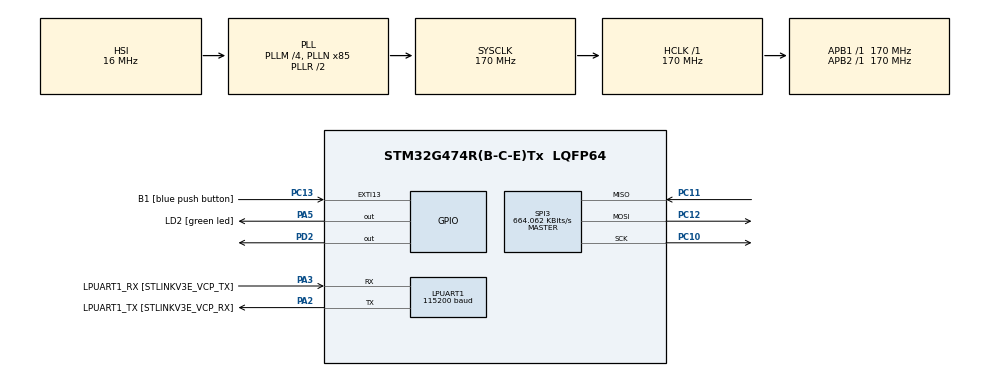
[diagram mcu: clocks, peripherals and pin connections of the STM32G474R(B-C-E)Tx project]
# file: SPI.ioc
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LPUART1.BaudRate=115200
LPUART1.WordLength=UART_WORDLENGTH_8B
Mcu.Family=STM32G4
Mcu.Name=STM32G474R(B-C-E)Tx
Mcu.Package=LQFP64
NVIC.EXTI15_10_IRQn=true\:0\:0\:false\:false\:true\:true\:true\:true
NVIC.PriorityGroup=NVIC_PRIORITYGROUP_4
NVIC.SPI3_IRQn=true\:0\:0\:false\:false\:true\:true\:true\:true
NVIC.TIM2_IRQn=true\:0\:0\:false\:false\:true\:true\:true\:true
PA13.GPIO_Label=T_SWDIO
PA13.Mode=Serial_Wire
PA13.Signal=SYS_JTMS-SWDIO
PA14.GPIO_Label=T_SWCLK
PA14.Mode=Serial_Wire
PA14.Signal=SYS_JTCK-SWCLK
PA2.GPIO_Label=LPUART1_TX [STLINKV3E_VCP_RX]
PA2.Mode=Asynchronous
PA2.Signal=LPUART1_TX
PA3.GPIO_Label=LPUART1_RX [STLINKV3E_VCP_TX]
PA3.Mode=Asynchronous
PA3.Signal=LPUART1_RX
PA5.GPIO_Label=LD2 [green led]
PA5.Signal=GPIO_Output
PB3.GPIO_Label=T_SWO
PB3.Signal=SYS_JTDO-SWO
PC10.Mode=Full_Duplex_Master
PC10.Signal=SPI3_SCK
PC11.Mode=Full_Duplex_Master
PC11.Signal=SPI3_MISO
PC12.Mode=Full_Duplex_Master
PC12.Signal=SPI3_MOSI
PC13.GPIO_Label=B1 [blue push button]
PC13.Signal=GPXTI13
PC14-OSC32_IN.Mode=LSE-External-Oscillator
PC14-OSC32_IN.Signal=RCC_OSC32_IN
PC15-OSC32_OUT.Mode=LSE-External-Oscillator
PC15-OSC32_OUT.Signal=RCC_OSC32_OUT
PD2.PinState=GPIO_PIN_SET
PD2.Signal=GPIO_Output
PF0-OSC_IN.Mode=HSE-External-Oscillator
PF0-OSC_IN.Signal=RCC_OSC_IN
PF1-OSC_OUT.Mode=HSE-External-Oscillator
PF1-OSC_OUT.Signal=RCC_OSC_OUT
ProjectManager.HeapSize=0x200
ProjectManager.StackSize=0x400
ProjectManager.TargetToolchain=STM32CubeIDE
RCC.ADC12Freq_Value=170000000
RCC.ADC345Freq_Value=170000000
RCC.AHBFreq_Value=170000000
RCC.APB1Freq_Value=170000000
RCC.APB1TimFreq_Value=170000000
RCC.APB2Freq_Value=170000000
RCC.APB2TimFreq_Value=170000000
RCC.CortexFreq_Value=170000000
RCC.EXTERNAL_CLOCK_VALUE=12288000
RCC.HCLKFreq_Value=170000000
RCC.HSE_VALUE=24000000
RCC.HSI48_VALUE=48000000
RCC.HSI_VALUE=16000000
RCC.PLLM=RCC_PLLM_DIV4
RCC.PLLN=85
RCC.RTCClockSelection=RCC_RTCCLKSOURCE_LSE
RCC.SYSCLKFreq_VALUE=170000000
RCC.SYSCLKSource=RCC_SYSCLKSOURCE_PLLCLK
RCC.USBFreq_Value=170000000
RCC.VCOOutputFreq_Value=340000000
SPI3.BaudRatePrescaler=SPI_BAUDRATEPRESCALER_256
SPI3.CLKPhase=SPI_PHASE_1EDGE
SPI3.CLKPolarity=SPI_POLARITY_LOW
SPI3.CalculateBaudRate=664.062 KBits/s
SPI3.DataSize=SPI_DATASIZE_8BIT
SPI3.Direction=SPI_DIRECTION_2LINES
SPI3.Mode=SPI_MODE_MASTER
SPI3.VirtualType=VM_MASTER
TIM2.PeriodNoDither=999
TIM2.Prescaler=16999
VP_SYS_VS_DBSignals.Mode=DisableDeadBatterySignals
VP_TIM2_VS_ClockSourceINT.Mode=Internal
board=NUCLEO-G474RE

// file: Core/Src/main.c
/* USER CODE BEGIN Header */
/**
  ******************************************************************************
  * @file           : main.c
  * @brief          : Main program body
  ******************************************************************************
  * @attention
  *
  * Copyright (c) 2024 STMicroelectronics.
  * All rights reserved.
  *
  * This software is licensed under terms that can be found in the LICENSE file
  * in the root directory of this software component.
  * If no LICENSE file comes with this software, it is provided AS-IS.
  *
  ******************************************************************************
  */
/* USER CODE END Header */
#include "main.h"

UART_HandleTypeDef hlpuart1;

SPI_HandleTypeDef hspi3;

TIM_HandleTypeDef htim2;

/* USER CODE BEGIN PV */
uint8_t SPIRx[10];
uint8_t SPITx[10];
uint8_t Mode;
uint8_t Switch = 1;
uint8_t LMode1 = 1;
/* USER CODE END PV */

void SystemClock_Config(void);
static void MX_GPIO_Init(void);
static void MX_LPUART1_UART_Init(void);
static void MX_SPI3_Init(void);
static void MX_TIM2_Init(void);
/* USER CODE BEGIN PFP */
void SPITxRx_Setup();
void SPITxRx_readIO();
void IODIRB_Setup();
void ReadSwitch();
void LED_From();
/* USER CODE END PFP */

int main(void)
{

  /* MCU Configuration--------------------------------------------------------*/

  /* Reset of all peripherals, Initializes the Flash interface and the Systick. */
  HAL_Init();

  /* Configure the system clock */
  SystemClock_Config();

  /* Initialize all configured peripherals */
  MX_GPIO_Init();
  MX_LPUART1_UART_Init();
  MX_SPI3_Init();
  MX_TIM2_Init();
  /* USER CODE BEGIN 2 */
//  SPITxRx_Setup();//for mode 1,1
  IODIRB_Setup();
  HAL_TIM_Base_Start_IT(&htim2);
  /* USER CODE END 2 */

  /* Infinite loop */
  while (1)
  {

    /* USER CODE BEGIN 3 */
	  SPITxRx_readIO();
	  ReadSwitch();
  }
  /* USER CODE END 3 */
}

void SystemClock_Config(void)
{
  RCC_OscInitTypeDef RCC_OscInitStruct = {0};
  RCC_ClkInitTypeDef RCC_ClkInitStruct = {0};

  /** Configure the main internal regulator output voltage
  */
  HAL_PWREx_ControlVoltageScaling(PWR_REGULATOR_VOLTAGE_SCALE1_BOOST);

  /** Initializes the RCC Oscillators according to the specified parameters
  * in the RCC_OscInitTypeDef structure.
  */
  RCC_OscInitStruct.OscillatorType = RCC_OSCILLATORTYPE_HSI;
  RCC_OscInitStruct.HSIState = RCC_HSI_ON;
  RCC_OscInitStruct.HSICalibrationValue = RCC_HSICALIBRATION_DEFAULT;
  RCC_OscInitStruct.PLL.PLLState = RCC_PLL_ON;
  RCC_OscInitStruct.PLL.PLLSource = RCC_PLLSOURCE_HSI;
  RCC_OscInitStruct.PLL.PLLM = RCC_PLLM_DIV4;
  RCC_OscInitStruct.PLL.PLLN = 85;
  RCC_OscInitStruct.PLL.PLLP = RCC_PLLP_DIV2;
  RCC_OscInitStruct.PLL.PLLQ = RCC_PLLQ_DIV2;
  RCC_OscInitStruct.PLL.PLLR = RCC_PLLR_DIV2;
  if (HAL_RCC_OscConfig(&RCC_OscInitStruct) != HAL_OK)
  {
    Error_Handler();
  }

  /** Initializes the CPU, AHB and APB buses clocks
  */
  RCC_ClkInitStruct.ClockType = RCC_CLOCKTYPE_HCLK|RCC_CLOCKTYPE_SYSCLK
                              |RCC_CLOCKTYPE_PCLK1|RCC_CLOCKTYPE_PCLK2;
  RCC_ClkInitStruct.SYSCLKSource = RCC_SYSCLKSOURCE_PLLCLK;
  RCC_ClkInitStruct.AHBCLKDivider = RCC_SYSCLK_DIV1;
  RCC_ClkInitStruct.APB1CLKDivider = RCC_HCLK_DIV1;
  RCC_ClkInitStruct.APB2CLKDivider = RCC_HCLK_DIV1;

  if (HAL_RCC_ClockConfig(&RCC_ClkInitStruct, FLASH_LATENCY_4) != HAL_OK)
  {
    Error_Handler();
  }
}

static void MX_LPUART1_UART_Init(void)
{

  hlpuart1.Instance = LPUART1;
  hlpuart1.Init.BaudRate = 115200;
  hlpuart1.Init.WordLength = UART_WORDLENGTH_8B;
  hlpuart1.Init.StopBits = UART_STOPBITS_1;
  hlpuart1.Init.Parity = UART_PARITY_NONE;
  hlpuart1.Init.Mode = UART_MODE_TX_RX;
  hlpuart1.Init.HwFlowCtl = UART_HWCONTROL_NONE;
  hlpuart1.Init.OneBitSampling = UART_ONE_BIT_SAMPLE_DISABLE;
  hlpuart1.Init.ClockPrescaler = UART_PRESCALER_DIV1;
  hlpuart1.AdvancedInit.AdvFeatureInit = UART_ADVFEATURE_NO_INIT;
  if (HAL_UART_Init(&hlpuart1) != HAL_OK)
  {
    Error_Handler();
  }
  if (HAL_UARTEx_SetTxFifoThreshold(&hlpuart1, UART_TXFIFO_THRESHOLD_1_8) != HAL_OK)
  {
    Error_Handler();
  }
  if (HAL_UARTEx_SetRxFifoThreshold(&hlpuart1, UART_RXFIFO_THRESHOLD_1_8) != HAL_OK)
  {
    Error_Handler();
  }
  if (HAL_UARTEx_DisableFifoMode(&hlpuart1) != HAL_OK)
  {
    Error_Handler();
  }

}

static void MX_SPI3_Init(void)
{

  /* SPI3 parameter configuration*/
  hspi3.Instance = SPI3;
  hspi3.Init.Mode = SPI_MODE_MASTER;
  hspi3.Init.Direction = SPI_DIRECTION_2LINES;
  hspi3.Init.DataSize = SPI_DATASIZE_8BIT;
  hspi3.Init.CLKPolarity = SPI_POLARITY_LOW;
  hspi3.Init.CLKPhase = SPI_PHASE_1EDGE;
  hspi3.Init.NSS = SPI_NSS_SOFT;
  hspi3.Init.BaudRatePrescaler = SPI_BAUDRATEPRESCALER_256;
  hspi3.Init.FirstBit = SPI_FIRSTBIT_MSB;
  hspi3.Init.TIMode = SPI_TIMODE_DISABLE;
  hspi3.Init.CRCCalculation = SPI_CRCCALCULATION_DISABLE;
  hspi3.Init.CRCPolynomial = 7;
  hspi3.Init.CRCLength = SPI_CRC_LENGTH_DATASIZE;
  hspi3.Init.NSSPMode = SPI_NSS_PULSE_ENABLE;
  if (HAL_SPI_Init(&hspi3) != HAL_OK)
  {
    Error_Handler();
  }

}

static void MX_TIM2_Init(void)
{

  TIM_ClockConfigTypeDef sClockSourceConfig = {0};
  TIM_MasterConfigTypeDef sMasterConfig = {0};

  htim2.Instance = TIM2;
  htim2.Init.Prescaler = 16999;
  htim2.Init.CounterMode = TIM_COUNTERMODE_UP;
  htim2.Init.Period = 999;
  htim2.Init.ClockDivision = TIM_CLOCKDIVISION_DIV1;
  htim2.Init.AutoReloadPreload = TIM_AUTORELOAD_PRELOAD_DISABLE;
  if (HAL_TIM_Base_Init(&htim2) != HAL_OK)
  {
    Error_Handler();
  }
  sClockSourceConfig.ClockSource = TIM_CLOCKSOURCE_INTERNAL;
  if (HAL_TIM_ConfigClockSource(&htim2, &sClockSourceConfig) != HAL_OK)
  {
    Error_Handler();
  }
  sMasterConfig.MasterOutputTrigger = TIM_TRGO_RESET;
  sMasterConfig.MasterSlaveMode = TIM_MASTERSLAVEMODE_DISABLE;
  if (HAL_TIMEx_MasterConfigSynchronization(&htim2, &sMasterConfig) != HAL_OK)
  {
    Error_Handler();
  }

}

static void MX_GPIO_Init(void)
{
  GPIO_InitTypeDef GPIO_InitStruct = {0};

  /* GPIO Ports Clock Enable */
  __HAL_RCC_GPIOC_CLK_ENABLE();
  __HAL_RCC_GPIOF_CLK_ENABLE();
  __HAL_RCC_GPIOA_CLK_ENABLE();
  __HAL_RCC_GPIOD_CLK_ENABLE();
  __HAL_RCC_GPIOB_CLK_ENABLE();

  /*Configure GPIO pin Output Level */
  HAL_GPIO_WritePin(LD2_GPIO_Port, LD2_Pin, GPIO_PIN_RESET);

  /*Configure GPIO pin Output Level */
  HAL_GPIO_WritePin(GPIOD, GPIO_PIN_2, GPIO_PIN_SET);

  /*Configure GPIO pin : B1_Pin */
  GPIO_InitStruct.Pin = B1_Pin;
  GPIO_InitStruct.Mode = GPIO_MODE_IT_RISING;
  GPIO_InitStruct.Pull = GPIO_NOPULL;
  HAL_GPIO_Init(B1_GPIO_Port, &GPIO_InitStruct);

  /*Configure GPIO pin : LD2_Pin */
  GPIO_InitStruct.Pin = LD2_Pin;
  GPIO_InitStruct.Mode = GPIO_MODE_OUTPUT_PP;
  GPIO_InitStruct.Pull = GPIO_NOPULL;
  GPIO_InitStruct.Speed = GPIO_SPEED_FREQ_LOW;
  HAL_GPIO_Init(LD2_GPIO_Port, &GPIO_InitStruct);

  /*Configure GPIO pin : PD2 */
  GPIO_InitStruct.Pin = GPIO_PIN_2;
  GPIO_InitStruct.Mode = GPIO_MODE_OUTPUT_PP;
  GPIO_InitStruct.Pull = GPIO_NOPULL;
  GPIO_InitStruct.Speed = GPIO_SPEED_FREQ_LOW;
  HAL_GPIO_Init(GPIOD, &GPIO_InitStruct);

  /* EXTI interrupt init*/
  HAL_NVIC_SetPriority(EXTI15_10_IRQn, 0, 0);
  HAL_NVIC_EnableIRQ(EXTI15_10_IRQn);

}

/* USER CODE BEGIN 4 */
void SPITxRx_Setup()
{
//CS pulse
HAL_GPIO_WritePin(GPIOD, GPIO_PIN_2, 0); // CS Select
HAL_Delay(1);
HAL_GPIO_WritePin(GPIOD, GPIO_PIN_2, 1); // CS deSelect
HAL_Delay(1);
}

void IODIRB_Setup()//at BEGIN 2
{
	HAL_GPIO_WritePin(GPIOD, GPIO_PIN_2, 0);
	SPITx[0] = 0b01000000;//write
	SPITx[1] = 0x01;//IODIRB
	SPITx[2] = 0b00000000;
	HAL_SPI_TransmitReceive_IT(&hspi3, SPITx, SPIRx, 3);
}

void SPITxRx_readIO()
{
	if(HAL_GPIO_ReadPin(GPIOD,GPIO_PIN_2))
	{
		HAL_GPIO_WritePin(GPIOD, GPIO_PIN_2, 0); // CS Select
		if (Mode == 0)
		{
			SPITx[0] = 0b01000001;//read
			SPITx[1] = 0x12;
			SPITx[2] = 0;
		}
		else if(Mode == 1)
		{
			LED_From();
		}
		HAL_SPI_TransmitReceive_IT(&hspi3, SPITx, SPIRx, 3);
	}
}

void ReadSwitch()
{
	if (SPIRx[2]==14)
		{
			Switch = 1;
		}
	else if (SPIRx[2]==13)
		{
			Switch = 2;
		}
	else if (SPIRx[2]==11)
		{
			Switch = 3;
		}
	else if (SPIRx[2]==7)
		{
			Switch = 4;
		}
}

void LED_From()
{
	if (Switch == 1)
		{
			SPITx[0] = 0b01000000;//write
			SPITx[1] = 0x15;//OLATB
			if (LMode1 == 1)
				{
				SPITx[2] = 0b11111110;
				}
			else if (LMode1 == 2)
				{
				SPITx[2] = 0b11111101;
				}
			else if (LMode1 == 3)
				{
				SPITx[2] = 0b11111011;
				}
			else if (LMode1 == 4)
				{
				SPITx[2] = 0b11110111;
				}
			else if (LMode1 == 5)
				{
				SPITx[2] = 0b11101111;
				}
			else if (LMode1 == 6)
				{
				SPITx[2] = 0b11011111;
				}
			else if (LMode1 == 7)
				{
				SPITx[2] = 0b10111111;
				}
			else if (LMode1 == 8)
				{
				SPITx[2] = 0b01111111;
				}
		}
		else if (Switch == 2)
		{
			SPITx[0] = 0b01000000;//write
			SPITx[1] = 0x15;//OLATB
			if (LMode1 == 1)
				{
				SPITx[2] = 0b00000001;
				}
			else if (LMode1 == 2)
				{
				SPITx[2] = 0b00000010;
				}
			else if (LMode1 == 3)
				{
				SPITx[2] = 0b00000100;
				}
			else if (LMode1 == 4)
				{
				SPITx[2] = 0b00001000;
				}
			else if (LMode1 == 5)
				{
				SPITx[2] = 0b00010000;
				}
			else if (LMode1 == 6)
				{
				SPITx[2] = 0b00100000;
				}
			else if (LMode1 == 7)
				{
				SPITx[2] = 0b01000000;
				}
			else if (LMode1 == 8)
				{
				SPITx[2] = 0b10000000;
				}
		}

}

void HAL_SPI_TxRxCpltCallback(SPI_HandleTypeDef *hspi)
{
	Mode+=1;
	if (Mode>1)
	{
		Mode = 0;
	}

	HAL_GPIO_WritePin(GPIOD, GPIO_PIN_2, 1); //CS dnSelect
}

void HAL_TIM_PeriodElapsedCallback(TIM_HandleTypeDef *htim)
{
	if (htim == &htim2)
	{
		LMode1+=1;
		if (LMode1>8)
		{
			LMode1 = 1;
		}
	}
}
/* USER CODE END 4 */

void Error_Handler(void)
{
  __disable_irq();
  while (1)
  {
  }
}
